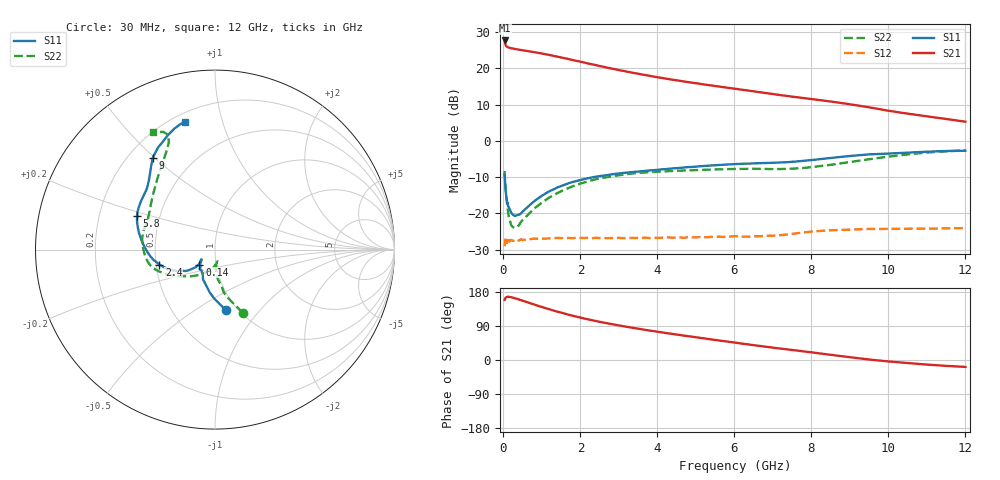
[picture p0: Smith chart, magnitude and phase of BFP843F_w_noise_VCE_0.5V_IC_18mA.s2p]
! (c) 2013  Infineon Technologies AG, Munich
! Infineon Technologies  Discrete & RF Semiconductors
! BFP843F
! VCE =  0.5 V,  IC =  18 mA
! Common Emitter S-Parameters:  Aug 2013
# GHz  S  MA  R  50
!  f  S11  S21  S12  S22
! GHz  MAG  ANG  MAG  ANG  MAG  ANG  MAG  ANG
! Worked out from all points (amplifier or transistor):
!   103 points, 30 MHz to 12 GHz, reference 50 ohm
!   highest |S21| = 27.7 dB at 30 MHz (marker M1)
!   |S21| within 3 dB of that: start of sweep to 670.1 MHz
!   unconditionally stable (mu >= 1): 126 MHz to 135.7 MHz; 144.1 MHz to 1.102 GHz; 2.007 GHz to end of sweep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
!   at 400 MHz: K = 1.02, MAG = 25.4 dB, |S12| = -27.5 dB
!   at 3.7 GHz: K = 1.13, MAG = 20.2 dB, |S12| = -26.7 dB
!   at 12 GHz: K = 1.33, MAG = 11.2 dB, |S12| = -24.0 dB
!   lowest NFmin = 0.88 dB at 450 MHz
!   S11 on the Smith chart (normalised r, x): 30 MHz: 0.89, -0.68; 140 MHz: 0.83, -0.14; 2.4 GHz: 0.52, -0.10; 5.8 GHz: 0.37, +0.18; 9 GHz: 0.30, +0.49; 12 GHz: 0.25, +0.76
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0.03  0.3431 -79.7  24.25 158.8  0.0353 28.7  0.3836 -66.2
0.04  0.2759 -90.4  22.43 160.3  0.0396 21.8  0.299 -72.9
0.05  0.24 -97.1  21.33 163.3  0.0436 14.7  0.245 -78.4
0.07  0.1796 -111.8  20.34 165.4  0.0422 12.3  0.176 -83.1
0.1  0.1367 -124.0  19.69 166.6  0.043 7.5  0.1214 -86.4
0.14  0.1205 -135.8  19.31 166.7  0.0429 8.4  0.0902 -84.4
0.2  0.1025 -141.9  18.91 165.7  0.0431 4.9  0.0686 -84.6
0.7  0.1327 -137.4  17.07 149.7  0.0441 4.1  0.1038 -96.9
1.1  0.1889 -142.2  15.63 136.7  0.0449 4.6  0.1533 -117.9
1.3  0.2139 -146.5  14.88 130.5  0.0455 3.6  0.1783 -125.9
1.6  0.2493 -151.9  13.77 122.1  0.0456 3.7  0.2147 -135.2
2.1  0.2978 -160.5  12.01 109.4  0.0458 3.6  0.2669 -147.3
2.4  0.3203 -164.9  11.08 102.9  0.046 4.0  0.2952 -152.1
3.2  0.3649 -175.0  9.028 87.6  0.0454 4.4  0.3473 -161.1
4.1  0.4042 175.0  7.404 73.1  0.0461 6.4  0.3781 -168.8
4.8  0.4345 167.4  6.458 62.8  0.0472 8.1  0.3927 -175.6
5.8  0.4724 156.9  5.426 48.8  0.0476 9.7  0.4076 174.1
6.1  0.4814 153.7  5.162 44.6  0.0483 10.0  0.41 170.7
8.5  0.5809 127.9  3.489 13.7  0.0586 13.3  0.4673 137.1
9  0.6187 124.1  3.198 7.4  0.0596 12.2  0.5104 128.9
10.5  0.6879 112.6  2.373 -8.0  0.0614 9.5  0.6504 113.3
12  0.7311 103.3  1.838 -18.2  0.0628 11.5  0.7419 117.8
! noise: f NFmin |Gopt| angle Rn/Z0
0.45  0.88  0.03  174  0.07
0.9  0.88  0.04  164  0.08
1.5  0.92  0.05  160  0.09
1.9  0.96  0.06  161  0.09
2.4  1  0.08  167  0.1
3.5  1.05  0.11  175  0.15
5.5  1.15  0.2  -150  0.21
10  1.67  0.38  -106  0.32
